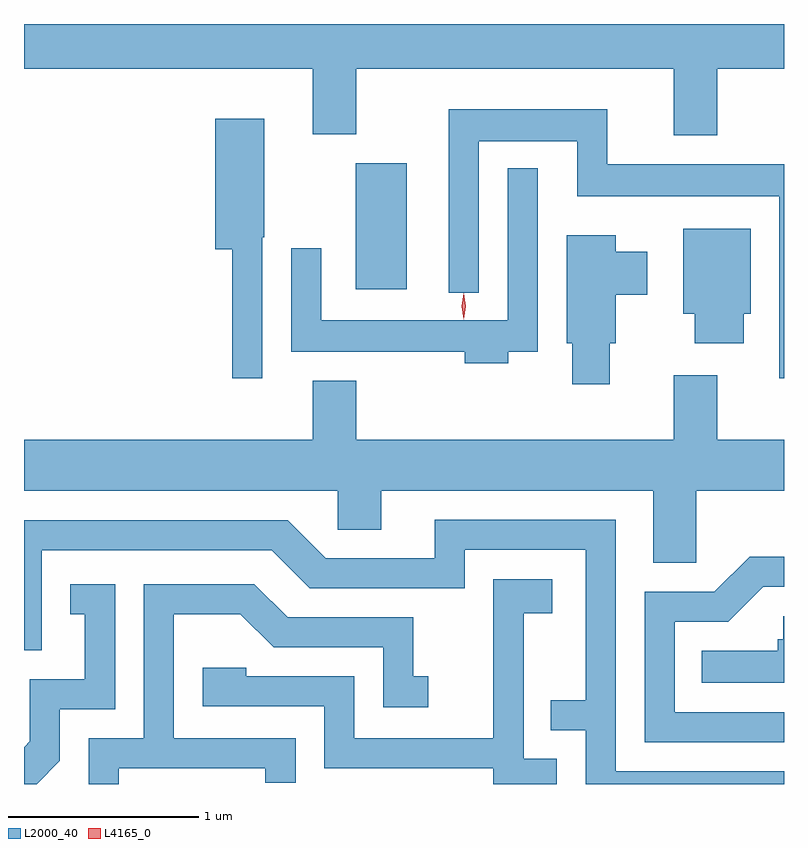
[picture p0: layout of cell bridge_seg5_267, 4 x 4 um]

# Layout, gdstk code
import gdstk
lib = gdstk.Library(unit=1e-6, precision=1e-09)
def R(c, l, rs):  # rectangles x0, y0, x1, y1
    for r in rs: c.add(gdstk.rectangle(r[:2], r[2:], *l))
def P(c, l, *ps):  # polygons
    for p in ps: c.add(gdstk.Polygon(p, *l))
L2000_40 = (2000, 40)
L4165_0 = (4165, 0)

bridge_seg5_267 = lib.new_cell('bridge_seg5_267')
R(bridge_seg5_267, L2000_40, [(658.526,1517.796,658.794,1518.459)])
P(bridge_seg5_267, L2000_40, [(660.429,1518.956),(660.78,1518.956),(660.78,1519.192),(656.78,1519.192),(656.78,1518.956),(658.301,1518.956),(658.301,1518.611),(658.529,1518.611),(658.529,1518.956),(660.201,1518.956),(660.201,1518.606),(660.429,1518.606)],
  [(660.78,1518.454),(659.849,1518.454),(659.849,1518.744),(659.016,1518.744),(659.016,1517.778),(659.174,1517.778),(659.174,1518.576),(659.691,1518.576),(659.691,1518.286),(660.756,1518.286),(660.756,1517.328),(660.78,1517.328)],
  [(658.034,1518.07),(658.044,1518.07),(658.044,1518.694),(657.786,1518.694),(657.786,1518.006),(657.876,1518.006),(657.876,1517.328),(658.034,1517.328)],
  [(659.329,1517.466),(659.484,1517.466),(659.484,1518.433),(659.326,1518.433),(659.326,1517.634),(658.344,1517.634),(658.344,1518.013),(658.186,1518.013),(658.186,1517.466),(659.101,1517.466),(659.101,1517.406),(659.329,1517.406)],
  [(660.569,1517.666),(660.604,1517.666),(660.604,1518.114),(660.251,1518.114),(660.251,1517.666),(660.311,1517.666),(660.311,1517.511),(660.569,1517.511)],
  [(659.864,1517.511),(659.894,1517.511),(659.894,1517.766),(660.059,1517.766),(660.059,1517.994),(659.894,1517.994),(659.894,1518.079),(659.636,1518.079),(659.636,1517.511),(659.666,1517.511),(659.666,1517.296),(659.864,1517.296)],
  [(660.319,1516.736),(660.78,1516.736),(660.78,1517.004),(660.429,1517.004),(660.429,1517.344),(660.201,1517.344),(660.201,1517.004),(658.529,1517.004),(658.529,1517.314),(658.301,1517.314),(658.301,1517.004),(656.78,1517.004),(656.78,1516.736),(658.431,1516.736),(658.431,1516.531),(658.659,1516.531),(658.659,1516.736),(660.091,1516.736),(660.091,1516.356),(660.319,1516.356)],
  [(660.78,1515.259),(659.894,1515.259),(659.894,1516.584),(658.941,1516.584),(658.941,1516.379),(658.367,1516.379),(658.167,1516.579),(656.78,1516.579),(656.78,1515.896),(656.874,1515.896),(656.874,1516.421),(658.084,1516.421),(658.284,1516.221),(659.099,1516.221),(659.099,1516.426),(659.736,1516.426),(659.736,1515.634),(659.553,1515.634),(659.553,1515.476),(659.736,1515.476),(659.736,1515.192),(660.78,1515.192)],
  [(660.78,1515.569),(660.204,1515.569),(660.204,1516.046),(660.487,1516.046),(660.672,1516.231),(660.78,1516.231),(660.78,1516.389),(660.599,1516.389),(660.414,1516.204),(660.046,1516.204),(660.046,1515.411),(660.78,1515.411)],
  [(659.584,1515.324),(659.409,1515.324),(659.409,1516.091),(659.559,1516.091),(659.559,1516.269),(659.251,1516.269),(659.251,1515.434),(658.519,1515.434),(658.519,1515.759),(657.949,1515.759),(657.949,1515.804),(657.721,1515.804),(657.721,1515.601),(658.361,1515.601),(658.361,1515.276),(659.251,1515.276),(659.251,1515.192),(659.584,1515.192)],
  [(657.279,1515.276),(658.051,1515.276),(658.051,1515.198),(658.209,1515.198),(658.209,1515.434),(657.569,1515.434),(657.569,1516.086),(657.919,1516.086),(658.094,1515.911),(658.671,1515.911),(658.671,1515.596),(658.908,1515.596),(658.908,1515.759),(658.829,1515.759),(658.829,1516.069),(658.167,1516.069),(657.992,1516.244),(657.411,1516.244),(657.411,1515.434),(657.121,1515.434),(657.121,1515.192),(657.279,1515.192)],
  [(656.969,1515.314),(656.969,1515.586),(657.259,1515.586),(657.259,1516.244),(657.023,1516.244),(657.023,1516.086),(657.101,1516.086),(657.101,1515.744),(656.811,1515.744),(656.811,1515.417),(656.78,1515.386),(656.78,1515.192),(656.848,1515.192)],
  [(660.78,1516.074),(660.776,1516.074),(660.776,1515.954),(660.746,1515.954),(660.746,1515.894),(660.348,1515.894),(660.348,1515.726),(660.78,1515.726)])
P(bridge_seg5_267, L4165_0, [(659.094,1517.637),(659.085,1517.706),(659.094,1517.776),(659.095,1517.776),(659.095,1517.776),(659.105,1517.706),(659.095,1517.637),(659.095,1517.637)],
  [(659.095,1517.639),(659.094,1517.64),(659.085,1517.706),(659.094,1517.772),(659.095,1517.773),(659.095,1517.772),(659.105,1517.706),(659.095,1517.64)])

lib.write_gds('bridge_seg5_267.gds')
